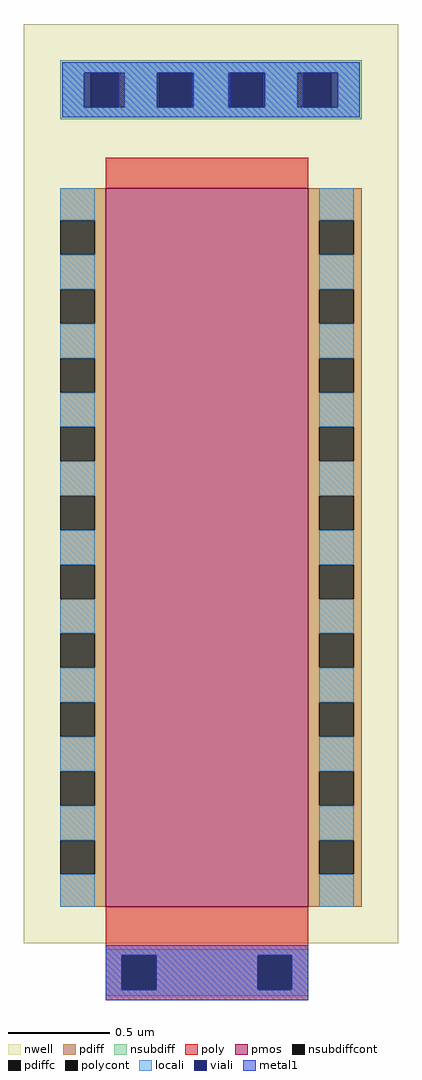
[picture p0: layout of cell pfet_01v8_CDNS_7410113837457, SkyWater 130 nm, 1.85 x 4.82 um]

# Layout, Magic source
magic
tech sky130A
magscale 1 2
<< nwell >>
rect -81 -36 289 872
<< pmos >>
rect 0 0 200 710
<< pdiff >>
rect -45 678 0 710
rect -11 644 0 678
rect -45 610 0 644
rect -11 576 0 610
rect -45 542 0 576
rect -11 508 0 542
rect -45 474 0 508
rect -11 440 0 474
rect -45 406 0 440
rect -11 372 0 406
rect -45 338 0 372
rect -11 304 0 338
rect -45 270 0 304
rect -11 236 0 270
rect -45 202 0 236
rect -11 168 0 202
rect -45 134 0 168
rect -11 100 0 134
rect -45 66 0 100
rect -11 32 0 66
rect -45 0 0 32
rect 200 678 253 710
rect 200 644 211 678
rect 245 644 253 678
rect 200 610 253 644
rect 200 576 211 610
rect 245 576 253 610
rect 200 542 253 576
rect 200 508 211 542
rect 245 508 253 542
rect 200 474 253 508
rect 200 440 211 474
rect 245 440 253 474
rect 200 406 253 440
rect 200 372 211 406
rect 245 372 253 406
rect 200 338 253 372
rect 200 304 211 338
rect 245 304 253 338
rect 200 270 253 304
rect 200 236 211 270
rect 245 236 253 270
rect 200 202 253 236
rect 200 168 211 202
rect 245 168 253 202
rect 200 134 253 168
rect 200 100 211 134
rect 245 100 253 134
rect 200 66 253 100
rect 200 32 211 66
rect 245 32 253 66
rect 200 0 253 32
<< pdiffc >>
rect -45 644 -11 678
rect -45 576 -11 610
rect -45 508 -11 542
rect -45 440 -11 474
rect -45 372 -11 406
rect -45 304 -11 338
rect -45 236 -11 270
rect -45 168 -11 202
rect -45 100 -11 134
rect -45 32 -11 66
rect 211 644 245 678
rect 211 576 245 610
rect 211 508 245 542
rect 211 440 245 474
rect 211 372 245 406
rect 211 304 245 338
rect 211 236 245 270
rect 211 168 245 202
rect 211 100 245 134
rect 211 32 245 66
<< nsubdiff >>
rect -45 824 253 836
rect -45 790 -15 824
rect 19 790 53 824
rect 87 790 121 824
rect 155 790 189 824
rect 223 790 253 824
rect -45 778 253 790
<< nsubdiffcont >>
rect -15 790 19 824
rect 53 790 87 824
rect 121 790 155 824
rect 189 790 223 824
<< poly >>
rect 0 710 200 740
rect 0 -48 200 0
rect 0 -82 16 -48
rect 50 -82 150 -48
rect 184 -82 200 -48
rect 0 -92 200 -82
<< polycont >>
rect 16 -82 50 -48
rect 150 -82 184 -48
<< locali >>
rect -43 824 251 834
rect -43 790 -21 824
rect 19 790 51 824
rect 87 790 121 824
rect 157 790 189 824
rect 229 790 251 824
rect -43 780 251 790
rect -45 678 -11 710
rect -45 610 -11 644
rect -45 542 -11 576
rect -45 474 -11 508
rect -45 406 -11 440
rect -45 338 -11 372
rect -45 270 -11 304
rect -45 202 -11 236
rect -45 134 -11 168
rect -45 66 -11 100
rect -45 0 -11 32
rect 211 678 245 710
rect 211 610 245 644
rect 211 542 245 576
rect 211 474 245 508
rect 211 406 245 440
rect 211 338 245 372
rect 211 270 245 304
rect 211 202 245 236
rect 211 134 245 168
rect 211 66 245 100
rect 211 0 245 32
rect 0 -48 200 -42
rect 0 -82 16 -48
rect 50 -82 150 -48
rect 184 -82 200 -48
rect 0 -88 200 -82
<< viali >>
rect -21 790 -15 824
rect -15 790 13 824
rect 51 790 53 824
rect 53 790 85 824
rect 123 790 155 824
rect 155 790 157 824
rect 195 790 223 824
rect 223 790 229 824
rect 16 -82 50 -48
rect 150 -82 184 -48
<< metal1 >>
rect -43 824 251 834
rect -43 790 -21 824
rect 13 790 51 824
rect 85 790 123 824
rect 157 790 195 824
rect 229 790 251 824
rect -43 780 251 790
rect 0 -48 200 -38
rect 0 -82 16 -48
rect 50 -82 150 -48
rect 184 -82 200 -48
rect 0 -92 200 -82
<< end >>
